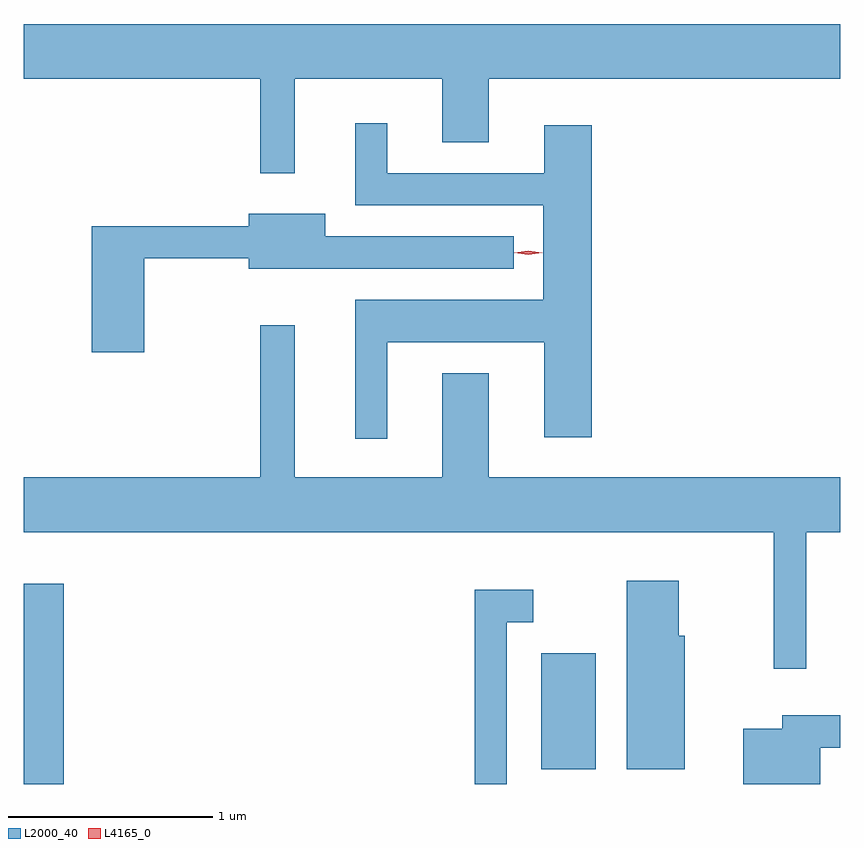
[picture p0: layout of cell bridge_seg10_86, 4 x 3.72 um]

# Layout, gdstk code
import gdstk
lib = gdstk.Library(unit=1e-6, precision=1e-09)
def R(c, l, rs):  # rectangles x0, y0, x1, y1
    for r in rs: c.add(gdstk.rectangle(r[:2], r[2:], *l))
def P(c, l, *ps):  # polygons
    for p in ps: c.add(gdstk.Polygon(p, *l))
L2000_40 = (2000, 40)
L4165_0 = (4165, 0)

bridge_seg10_86 = lib.new_cell('bridge_seg10_86')
R(bridge_seg10_86, L2000_40, [(1546.562,2183.723,1546.759,2184.704), (1549.096,2183.796,1549.364,2184.364)])
P(bridge_seg10_86, L2000_40, [(1547.889,2187.176),(1548.611,2187.176),(1548.611,2186.866),(1548.839,2186.866),(1548.839,2187.176),(1550.562,2187.176),(1550.562,2187.444),(1546.562,2187.444),(1546.562,2187.176),(1547.721,2187.176),(1547.721,2186.713),(1547.889,2186.713)],
  [(1548.344,2185.886),(1549.111,2185.886),(1549.111,2185.421),(1549.344,2185.421),(1549.344,2186.949),(1549.111,2186.949),(1549.111,2186.714),(1548.344,2186.714),(1548.344,2186.958),(1548.186,2186.958),(1548.186,2186.556),(1549.106,2186.556),(1549.106,2186.094),(1548.186,2186.094),(1548.186,2185.413),(1548.344,2185.413)],
  [(1547.154,2186.296),(1547.666,2186.296),(1547.666,2186.246),(1548.963,2186.246),(1548.963,2186.404),(1548.039,2186.404),(1548.039,2186.514),(1547.666,2186.514),(1547.666,2186.454),(1546.896,2186.454),(1546.896,2185.836),(1547.154,2185.836)],
  [(1550.394,2184.956),(1550.562,2184.956),(1550.562,2185.224),(1548.839,2185.224),(1548.839,2185.734),(1548.611,2185.734),(1548.611,2185.224),(1547.889,2185.224),(1547.889,2185.968),(1547.721,2185.968),(1547.721,2185.224),(1546.562,2185.224),(1546.562,2184.956),(1550.236,2184.956),(1550.236,2184.288),(1550.394,2184.288)],
  [(1549.799,2184.449),(1549.769,2184.449),(1549.769,2184.719),(1549.516,2184.719),(1549.516,2183.796),(1549.799,2183.796)],
  [(1548.929,2184.516),(1549.058,2184.516),(1549.058,2184.674),(1548.771,2184.674),(1548.771,2183.723),(1548.929,2183.723)],
  [(1550.464,2183.901),(1550.562,2183.901),(1550.562,2184.059),(1550.276,2184.059),(1550.276,2183.994),(1550.086,2183.994),(1550.086,2183.723),(1550.464,2183.723)])
P(bridge_seg10_86, L4165_0, [(1549.033,2186.315),(1548.964,2186.324),(1548.964,2186.325),(1548.964,2186.325),(1549.033,2186.335),(1549.102,2186.325),(1549.102,2186.325),(1549.102,2186.324)],
  [(1549.033,2186.314),(1548.967,2186.323),(1548.967,2186.324),(1548.967,2186.324),(1549.033,2186.334),(1549.099,2186.324),(1549.099,2186.324),(1549.099,2186.323)])

lib.write_gds('bridge_seg10_86.gds')
